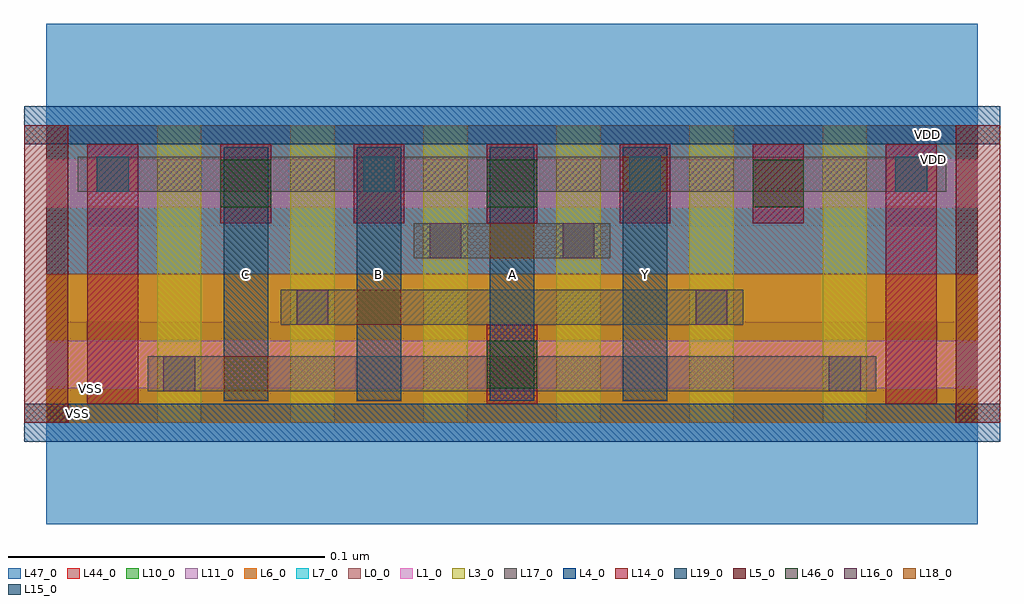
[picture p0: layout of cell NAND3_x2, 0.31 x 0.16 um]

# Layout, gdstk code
import gdstk
lib = gdstk.Library(unit=1e-6, precision=5e-10)
def R(c, l, rs):  # rectangles x0, y0, x1, y1
    for r in rs: c.add(gdstk.rectangle(r[:2], r[2:], *l))
def A(c, l, x, y, w, h, nx, ny, dx, dy):  # array of equal rectangles
    R(c, l, [(x+i*dx, y+j*dy, x+i*dx+w, y+j*dy+h) for i in range(nx) for j in range(ny)])
L0_0 = (0, 0)
L1_0 = (1, 0)
L3_0 = (3, 0)
L4_0 = (4, 0)
L5_0 = (5, 0)
L6_0 = (6, 0)
L7_0 = (7, 0)
L10_0 = (10, 0)
L11_0 = (11, 0)
L14_0 = (14, 0)
L15_0 = (15, 0)
L16_0 = (16, 0)
L17_0 = (17, 0)
L18_0 = (18, 0)
L19_0 = (19, 0)
L44_0 = (44, 0)
L46_0 = (46, 0)
L47_0 = (47, 0)

nand3_x2 = lib.new_cell('NAND3_x2')
R(nand3_x2, L0_0, [(0,0.047,0.294,0.094)])
R(nand3_x2, L1_0, [(0,0.011,0.294,0.026), (0,0.068,0.294,0.083)])
A(nand3_x2, L3_0, 0.035, 0, 0.014, 0.094, 6, 1, 0.042, 0)
R(nand3_x2, L4_0, [(-0.007,-0.006,0.301,0.006), (-0.007,0.088,0.301,0.1)])
R(nand3_x2, L5_0, [(-0.007,0,0.007,0.094), (0.287,0,0.301,0.094)])
R(nand3_x2, L6_0, [(0,0,0.294,0.047)])
R(nand3_x2, L7_0, [(0,0.047,0.294,0.094)])
R(nand3_x2, L10_0, [(0,0,0.294,0.047)])
R(nand3_x2, L11_0, [(0,0.047,0.294,0.094)])
A(nand3_x2, L14_0, 0.055, 0.063, 0.016, 0.025, 5, 1, 0.042, 0)
R(nand3_x2, L14_0, [(0.013,0.006,0.029,0.088), (0.139,0.006,0.155,0.031), (0.265,0.006,0.281,0.088)])
A(nand3_x2, L15_0, 0.016, 0.073, 0.01, 0.011, 4, 1, 0.084, 0)
R(nand3_x2, L16_0, [(0.037,0.01,0.047,0.021), (0.247,0.01,0.257,0.021), (0.079,0.031,0.089,0.042), (0.205,0.031,0.215,0.042), (0.121,0.052,0.131,0.063), (0.163,0.052,0.173,0.063)])
R(nand3_x2, L17_0, [(0.032,0.01,0.262,0.021), (0.074,0.031,0.22,0.042), (0.116,0.052,0.178,0.063), (0.01,0.073,0.284,0.084)])
R(nand3_x2, L18_0, [(0.056,0.01,0.07,0.021), (0.098,0.031,0.112,0.042), (0.14,0.052,0.154,0.063), (0.182,0.073,0.196,0.084)])
A(nand3_x2, L19_0, 0.056, 0.007, 0.014, 0.08, 4, 1, 0.042, 0)
R(nand3_x2, L44_0, [(0,0,0.294,0.094)])
A(nand3_x2, L46_0, 0.055, 0.068, 0.016, 0.015, 3, 1, 0.084, 0)
R(nand3_x2, L46_0, [(0.139,0.011,0.155,0.026)])
R(nand3_x2, L47_0, [(0,-0.032,0.294,0.032), (0,0.062,0.294,0.126)])
nand3_x2.add(gdstk.Label('Y', (0.189,0.047), layer=19, texttype=2))
nand3_x2.add(gdstk.Label('C', (0.063,0.047), layer=19, texttype=2))
nand3_x2.add(gdstk.Label('B', (0.105,0.047), layer=19, texttype=2))
nand3_x2.add(gdstk.Label('A', (0.147,0.047), layer=19, texttype=2))
nand3_x2.add(gdstk.Label('VDD', (0.28,0.083), layer=47, texttype=2))
nand3_x2.add(gdstk.Label('VSS', (0.014,0.011), layer=47, texttype=2))
nand3_x2.add(gdstk.Label('VDD', (0.278,0.091), layer=0, texttype=2))
nand3_x2.add(gdstk.Label('VSS', (0.01,0.003), layer=54, texttype=2))

lib.write_gds('NAND3_x2.gds')
